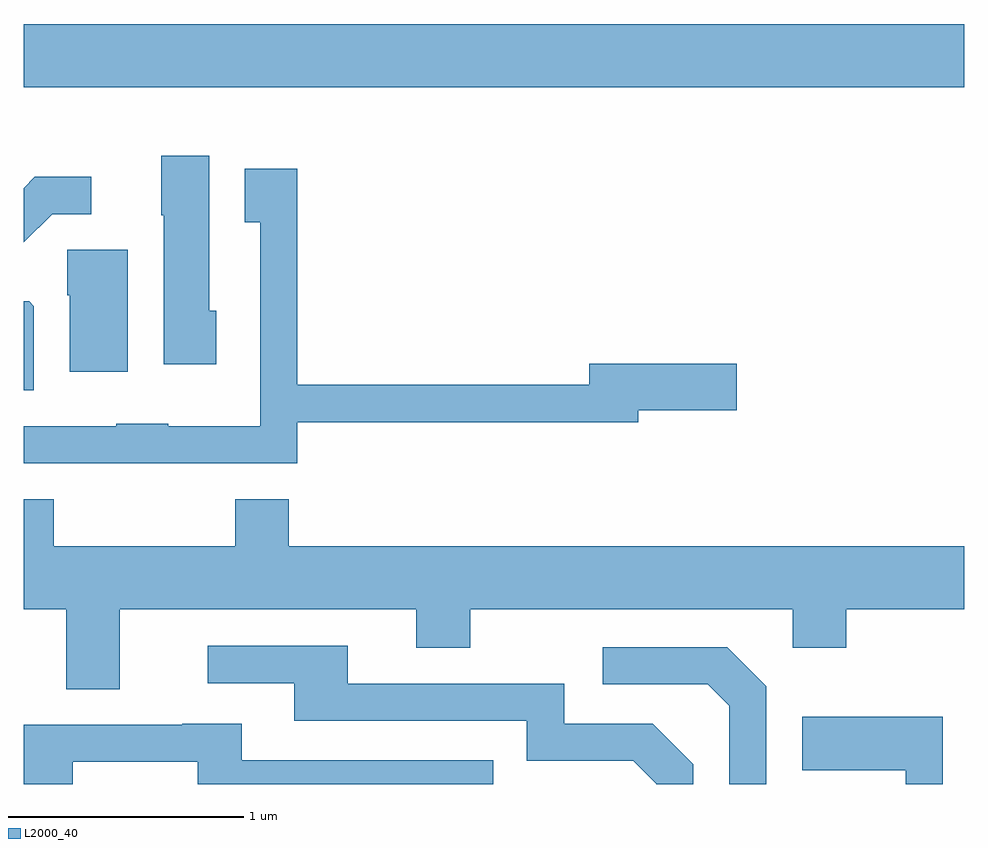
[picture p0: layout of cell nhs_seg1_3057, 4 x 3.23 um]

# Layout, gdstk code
import gdstk
lib = gdstk.Library(unit=1e-6, precision=1e-09)
def R(c, l, rs):  # rectangles x0, y0, x1, y1
    for r in rs: c.add(gdstk.rectangle(r[:2], r[2:], *l))
def P(c, l, *ps):  # polygons
    for p in ps: c.add(gdstk.Polygon(p, *l))
L2000_40 = (2000, 40)

nhs_seg1_3057 = lib.new_cell('nhs_seg1_3057')
R(nhs_seg1_3057, L2000_40, [(277.611,910.676,281.611,910.944)])
P(nhs_seg1_3057, L2000_40, [(278.429,909.724),(278.399,909.724),(278.399,910.384),(278.196,910.384),(278.196,910.13),(278.206,910.13),(278.206,909.496),(278.429,909.496)],
  [(278.774,909.251),(280.224,909.251),(280.224,909.301),(280.644,909.301),(280.644,909.499),(280.016,909.499),(280.016,909.409),(278.774,909.409),(278.774,910.329),(278.551,910.329),(278.551,910.101),(278.616,910.101),(278.616,909.234),(278.225,909.234),(278.225,909.244),(278.005,909.244),(278.005,909.234),(277.611,909.234),(277.611,909.076),(278.774,909.076)],
  [(277.732,910.136),(277.898,910.136),(277.898,910.294),(277.659,910.294),(277.611,910.246),(277.611,910.015)],
  [(278.054,909.984),(277.796,909.984),(277.796,909.79),(277.806,909.79),(277.806,909.466),(278.054,909.466)],
  [(277.654,909.744),(277.634,909.764),(277.611,909.764),(277.611,909.386),(277.654,909.386)],
  [(278.019,908.456),(279.281,908.456),(279.281,908.291),(279.509,908.291),(279.509,908.456),(280.881,908.456),(280.881,908.291),(281.109,908.291),(281.109,908.456),(281.611,908.456),(281.611,908.724),(278.739,908.724),(278.739,908.924),(278.511,908.924),(278.511,908.724),(277.739,908.724),(277.739,908.924),(277.611,908.924),(277.611,908.456),(277.791,908.456),(277.791,908.116),(278.019,908.116)],
  [(280.459,907.797),(280.287,907.969),(279.909,907.969),(279.909,908.139),(278.989,908.139),(278.989,908.299),(278.393,908.299),(278.393,908.141),(278.761,908.141),(278.761,907.981),(279.751,907.981),(279.751,907.811),(280.204,907.811),(280.301,907.714),(280.301,907.712),(280.459,907.712)],
  [(280.769,908.127),(280.602,908.294),(280.073,908.294),(280.073,908.136),(280.519,908.136),(280.611,908.044),(280.611,907.712),(280.769,907.712)],
  [(281.519,907.999),(280.921,907.999),(280.921,907.771),(281.361,907.771),(281.361,907.712),(281.519,907.712)],
  [(277.819,907.806),(278.351,907.806),(278.351,907.712),(279.608,907.712),(279.608,907.814),(278.539,907.814),(278.539,907.969),(278.285,907.969),(278.285,907.964),(277.611,907.964),(277.611,907.712),(277.819,907.712)])

lib.write_gds('nhs_seg1_3057.gds')
